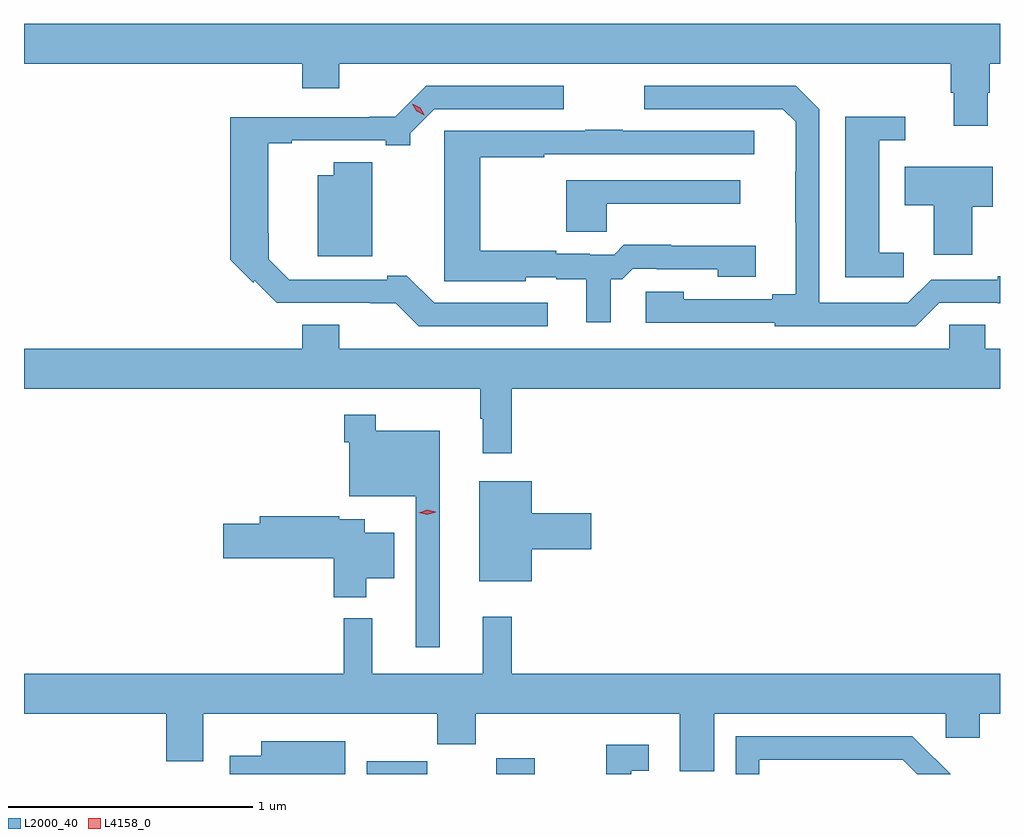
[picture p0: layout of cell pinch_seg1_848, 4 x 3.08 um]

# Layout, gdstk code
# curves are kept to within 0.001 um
import gdstk
lib = gdstk.Library(unit=1e-6, precision=1e-09)
def R(c, l, rs):  # rectangles x0, y0, x1, y1
    for r in rs: c.add(gdstk.rectangle(r[:2], r[2:], *l))
def P(c, l, *ps):  # polygons
    for p in ps: c.add(gdstk.Polygon(p, *l))
L2000_40 = (2000, 40)
L4158_0 = (4158, 0)

pinch_seg1_848 = lib.new_cell('pinch_seg1_848')
R(pinch_seg1_848, L2000_40, [(432.323,536.833,432.572,536.886), (432.854,536.833,433.012,536.899)])
P(pinch_seg1_848, L2000_40, [(434.869,539.625),(434.877,539.625),(434.877,539.744),(434.919,539.744),(434.919,539.908),(430.919,539.908),(430.919,539.744),(432.059,539.744),(432.059,539.645),(432.211,539.645),(432.211,539.744),(434.717,539.744),(434.717,539.625),(434.729,539.625),(434.729,539.49),(434.869,539.49)],
  [(433.066,538.764),(432.6,538.764),(432.488,538.876),(432.407,538.876),(432.407,538.86),(432.006,538.86),(431.923,538.944),(431.923,539.05),(431.92,539.05),(431.92,539.418),(432.016,539.418),(432.016,539.43),(432.401,539.43),(432.401,539.41),(432.501,539.41),(432.501,539.46),(432.6,539.559),(433.132,539.559),(433.132,539.655),(432.567,539.655),(432.44,539.528),(432.335,539.528),(432.335,539.526),(431.765,539.526),(431.765,538.941),(431.858,538.847),(431.865,538.855),(431.955,538.764),(432.443,538.763),(432.537,538.668),(433.066,538.668)],
  [(434.67,538.764),(434.919,538.763),(434.919,538.873),(434.909,538.873),(434.909,538.86),(434.637,538.86),(434.541,538.764),(434.178,538.764),(434.178,539.559),(434.082,539.655),(433.461,539.655),(433.461,539.559),(434.028,539.559),(434.081,539.506),(434.081,538.799),(433.985,538.799),(433.985,538.779),(433.623,538.779),(433.623,538.81),(433.467,538.81),(433.467,538.683),(433.995,538.683),(433.995,538.668),(434.574,538.668)],
  [(434.524,538.969),(434.425,538.969),(434.425,539.43),(434.53,539.43),(434.53,539.528),(434.285,539.528),(434.285,538.87),(434.524,538.87)],
  [(433.324,538.862),(433.37,538.862),(433.413,538.905),(433.513,538.905),(433.513,538.902),(433.762,538.902),(433.762,538.871),(433.918,538.871),(433.918,538.999),(433.571,538.999),(433.571,539.002),(433.378,539.002),(433.338,538.962),(433.238,538.962),(433.238,538.965),(433.101,538.965),(433.101,538.978),(432.789,538.978),(432.789,539.361),(433.052,539.361),(433.052,539.373),(433.912,539.373),(433.912,539.469),(433.373,539.469),(433.373,539.474),(433.219,539.474),(433.219,539.469),(432.641,539.469),(432.641,538.853),(432.975,538.853),(432.975,538.869),(433.101,538.869),(433.101,538.862),(433.223,538.862),(433.223,538.686),(433.324,538.686)],
  [(432.346,539.341),(432.188,539.341),(432.188,539.287),(432.122,539.287),(432.122,538.955),(432.346,538.955)],
  [(434.806,539.158),(434.89,539.158),(434.89,539.323),(434.529,539.323),(434.529,539.165),(434.648,539.165),(434.648,538.962),(434.806,538.962)],
  [(433.307,539.171),(433.855,539.171),(433.855,539.268),(433.141,539.268),(433.141,539.055),(433.307,539.055)],
  [(432.917,538.412),(434.919,538.412),(434.919,538.576),(434.859,538.576),(434.859,538.674),(434.712,538.674),(434.712,538.576),(432.211,538.576),(432.211,538.675),(432.059,538.675),(432.059,538.576),(430.919,538.576),(430.919,538.412),(432.789,538.412),(432.789,538.289),(432.8,538.289),(432.8,538.149),(432.917,538.149)],
  [(432.622,538.24),(432.361,538.24),(432.361,538.306),(432.232,538.306),(432.232,538.193),(432.252,538.193),(432.252,537.971),(432.525,537.971),(432.525,537.354),(432.622,537.354)],
  [(433,537.755),(433.243,537.755),(433.243,537.902),(433,537.902),(433,538.033),(432.785,538.033),(432.785,537.623),(433,537.623)],
  [(432.322,537.635),(432.436,537.635),(432.436,537.823),(432.316,537.823),(432.316,537.877),(432.212,537.877),(432.212,537.89),(431.885,537.89),(431.885,537.86),(431.736,537.86),(431.736,537.718),(432.188,537.718),(432.188,537.557),(432.322,537.557)],
  [(432.347,537.472),(432.229,537.472),(432.229,537.244),(430.919,537.244),(430.919,537.08),(431.501,537.08),(431.501,536.886),(431.653,536.886),(431.653,537.08),(432.613,537.08),(432.613,536.956),(432.77,536.956),(432.77,537.08),(433.607,537.08),(433.607,536.845),(433.747,536.845),(433.747,537.08),(434.697,537.08),(434.697,536.982),(434.836,536.982),(434.836,537.08),(434.919,537.08),(434.919,537.244),(432.917,537.244),(432.917,537.478),(432.8,537.478),(432.8,537.244),(432.347,537.244)],
  [(433.933,536.892),(434.521,536.892),(434.58,536.833),(434.717,536.833),(434.652,536.898),(434.651,536.897),(434.56,536.988),(433.836,536.988),(433.836,536.833),(433.933,536.833)],
  [(432.235,536.968),(431.891,536.968),(431.891,536.908),(431.762,536.908),(431.762,536.833),(432.235,536.833)],
  [(433.407,536.847),(433.48,536.847),(433.48,536.953),(433.306,536.953),(433.306,536.833),(433.407,536.833)])
P(pinch_seg1_848, L4158_0, [(432.56,539.534),(432.528,539.55),(432.51,539.579),(432.51,539.58),(432.511,539.58),(432.542,539.564),(432.56,539.535),(432.56,539.534)],
  [(432.572,537.896),(432.536,537.904),(432.535,537.904),(432.536,537.904),(432.571,537.916),(432.607,537.908),(432.607,537.908),(432.607,537.907)])

lib.write_gds('pinch_seg1_848.gds')
